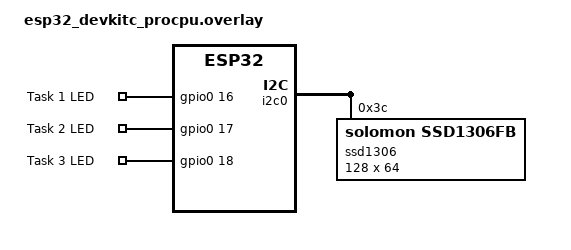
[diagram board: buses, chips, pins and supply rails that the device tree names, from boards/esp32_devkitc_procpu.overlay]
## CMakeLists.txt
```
cmake_minimum_required(VERSION 3.20.0)

find_package(Zephyr REQUIRED HINTS $ENV{ZEPHYR_BASE})
project(tda_app)

target_sources(app PRIVATE src/main.c src/tasks.c src/display.c src/acceptance_test.c)
```

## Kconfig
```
mainmenu "TDA App"

config NUM_TASKS
  int "Number of tasks"
  default 3

config TASK1_PRIORITY
  int "Priority of TASK1" 
  default 0

config TASK1_PERIOD_MS
  int "Period of TASK1" 
  default 10000

config TASK1_EXECUTION_TIME_MS
  int "Period of TASK1" 
  default 1000

config TASK1_RELEASE_MS
  int "Period of TASK1" 
  default 0

config TASK2_PRIORITY
  int "Priority of TASK2" 
  default 0

config TASK2_PERIOD_MS
  int "Period of TASK2" 
  default 10000

config TASK2_EXECUTION_TIME_MS
  int "Period of TASK2" 
  default 1000

config TASK2_RELEASE_MS
  int "Period of TASK2" 
  default 0

config TASK3_PRIORITY
  int "Priority of TASK3" 
  default 0

config TASK3_PERIOD_MS
  int "Period of TASK3" 
  default 10000

config TASK3_EXECUTION_TIME_MS
  int "Period of TASK3" 
  default 1000

config TASK3_RELEASE_MS
  int "Period of TASK3" 
  default 0

source "Kconfig.zephyr"
```

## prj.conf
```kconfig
CONFIG_GPIO=y
CONFIG_BOOTLOADER_MCUBOOT=y

CONFIG_DISPLAY=y
CONFIG_CHARACTER_FRAMEBUFFER=y
CONFIG_CBPRINTF_FP_SUPPORT=y

# Activate logging to get error/warnings for SSD1306 initialization
#CONFIG_LOG=y
#CONFIG_LOG_DEFAULT_LEVEL=3

# Task Configuration
CONFIG_NUM_TASKS=3

CONFIG_TASK1_PRIORITY=1
CONFIG_TASK1_PERIOD_MS=4000
CONFIG_TASK1_EXECUTION_TIME_MS=2000
CONFIG_TASK1_RELEASE_MS=0

CONFIG_TASK2_PRIORITY=2
CONFIG_TASK2_PERIOD_MS=7000
CONFIG_TASK2_EXECUTION_TIME_MS=2000
CONFIG_TASK2_RELEASE_MS=0

CONFIG_TASK3_PRIORITY=3
CONFIG_TASK3_PERIOD_MS=8000
CONFIG_TASK3_EXECUTION_TIME_MS=1000
CONFIG_TASK3_RELEASE_MS=0
```

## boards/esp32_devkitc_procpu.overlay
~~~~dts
/ {
    custom_gpio {
        compatible = "gpio-keys";

        task1_led: task1_led {
            gpios = <&gpio0 16 GPIO_ACTIVE_HIGH>;
            label = "Task 1 LED";
        };
        task2_led: task2_led {
            gpios = <&gpio0 17 GPIO_ACTIVE_HIGH>;
            label = "Task 2 LED";
        };
        task3_led: task3_led {
            gpios = <&gpio0 18 GPIO_ACTIVE_HIGH>;
            label = "Task 3 LED";
        };
    };

    chosen {
        task1_led = &task1_led;
        task2_led = &task2_led;
        task3_led = &task3_led;
        zephyr,display = &ssd1306;
    };
};


/* TODO: Configure I2C for the SSD1306 display. 
*  For reference, you may want to have a look at
*  (1) zephyr/boards/espressif/esp32_devkitc/esp32_devkitc_procpu.dts
*  (2) zephyr/boards/shields/ssd1306/ssd1306_128x64.overlay
*  Hint: The ESP32 device tree does not provide a arduino_i2c definition as 
*  assumed by (2), thus replace it with a suitable device tree entry from (1).
*
*  Afterwards, make sure that the reference in display.c is correctly resolved
*  ```
*  #define SSD1306 DT_CHOSEN(display)
*  static const struct device *dev = DEVICE_DT_GET(SSD1306);
*  ```
*/
&i2c0 {
	status = "okay";

	ssd1306: ssd1306@3c {
		compatible = "solomon,ssd1306fb";
		reg = <0x3c>;
		width = <128>;
		height = <64>;
		segment-offset = <2>;
		page-offset = <0>;
		display-offset = <0>;
		multiplex-ratio = <63>;
		segment-remap;
		com-invdir;
		prechargep = <0x22>;
	};
~~~~

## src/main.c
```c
#include <zephyr/kernel.h>

#include "acceptance_test.h"
#include "display.h"

K_THREAD_STACK_ARRAY_DEFINE(task_stacks, CONFIG_NUM_TASKS, STACKSIZE);

TASK_SETUP(1);
TASK_SETUP(2);
TASK_SETUP(3);

struct task_params *task_set[] = {
	&task1_params,
	&task2_params,
	&task3_params,
};

struct k_thread task_threads[CONFIG_NUM_TASKS];

int main()
{
	AcceptanceTestResult default_result = {false, {0, 0, 0}};
	AcceptanceTestResult results[] = {default_result, default_result, default_result};

	// check acceptance test and store decision in results array
	for (unsigned int i = 0; i < CONFIG_NUM_TASKS; i++) {
		acceptance_test(task_set, i, results);
		if (!results[i].accepted) {
			continue;
		}

		// if accepted, create the task
		k_thread_create(&task_threads[i], task_stacks[i], STACKSIZE, task_implementation,
				task_set[i], &results[i].info, NULL, task_set[i]->priority, 0,
				K_NO_WAIT);
	}

	start_time_keeper();

	while (1) {
		for (unsigned int i = 0; i < CONFIG_NUM_TASKS; i++) {
			ssd1306_print_task_info(task_set[i], &results[i].info);
			k_sleep(K_MSEC(1000));
		}
	}

	return 0;
}
```

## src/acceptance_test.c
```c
#include <math.h>
#include <stdio.h>

#include "acceptance_test.h"

void utilization_bound_test(struct task_params **params, unsigned int task_id,
			    AcceptanceTestResult results[])
{
	double utilization = 0;
	bool accepted = false;
	/*--------------------------------------------------------------------
	 * TODO 1: Implement the Utilization Bound Test from the lecture
	 ---------------------------------------------------------------------*/
	unsigned int num_tasks = 0;
	for (unsigned int i = 0; i <= task_id; i++) 
	{
		if (i == task_id || results[i].accepted) 
		{
			utilization +=(double)params[i]->execution_time_ms  / (double)params[i]->period_ms;
			num_tasks++;
		}
	}
	//	unsigned int num_tasks = task_id+1;
	double bound = num_tasks * (pow(2.0, 1.0 / num_tasks) - 1.0);

	if (utilization <= bound)
	accepted = true;
	results[task_id].accepted = accepted;
	results[task_id].info.util = utilization;

	printf("Utiliization Test (Task %d): %f (%s)\n", task_id + 1, utilization,
	       accepted ? "accepted" : "rejected");
}

void worst_case_simulation(struct task_params **params, unsigned int task_id,
			   AcceptanceTestResult results[])
{
	int32_t completion_time = 0;
	bool accepted = false;
	
	/*--------------------------------------------------------------------
	 * TODO 2: Implement the Worst Case Simulation from the lecture
	 ---------------------------------------------------------------------*/
	int32_t T_execution_time = params[task_id]->execution_time_ms;
	int32_t T_deadline = params[task_id]->period_ms;
	int32_t T_pre = T_execution_time;
	int32_t T_suc = 0;

	while (1) 
	{
		T_suc = T_execution_time;
		for (unsigned int i = 0; i < task_id; i++) 
		{
			if (results[i].accepted) 
			{
				T_suc += (int32_t)ceil((double)T_pre /params[i]->period_ms) * params[i]->execution_time_ms;
			}
		}
		if (T_suc == T_pre)
			break;
		if (T_suc > T_deadline)
			break;
		T_pre = T_suc;
	}
	completion_time = T_suc;
	accepted = (completion_time <= T_deadline);
	// ___________________________ END _____________________________________
	results[task_id].accepted = accepted;
	results[task_id].info.wcs_result = completion_time;

	printf("Worst Case Simulation (Task %d): %d ms (%s)\n", task_id + 1, completion_time,
	       accepted ? "accepted" : "rejected");
}

void time_demand_analysis(struct task_params **params, unsigned int task_id, AcceptanceTestResult results[])
{
	int32_t t_next = 0;
	bool accepted = false;

	/*--------------------------------------------------------------------
	 * TODO 3: Implement the Time Demand Analysis from the lecture
	 ---------------------------------------------------------------------*/
	int32_t execution_T1 = params[task_id]->execution_time_ms;
	int32_t Deadline_T1 = params[task_id]->period_ms;
	for (int32_t i = execution_T1; i <= Deadline_T1; i++) 
	{
		int32_t t1 = execution_T1;
		for (unsigned int j = 0; j < task_id; j++) {
			if (results[j].accepted) 
			{
				t1 += (int32_t)ceil((double)i /params[j]->period_ms) * params[j]->execution_time_ms;
			}
		}

		if (t1 <= i) 
		{
			accepted = true;
			t_next = i;
			break;
		}
	}
	if (!accepted)
		t_next = -1;

	results[task_id].accepted = accepted;
	results[task_id].info.tda_result = t_next;

	printf("Time Demand Analysis (Task %d): %d ms (%s)\n", task_id + 1, t_next,
	       accepted ? "accepted" : "rejected");
}

/* Determine if params[task_id] can be scheduled.
 * - params: array of all task parameters (e.g., needed to perform TDA)
 * - task_id: index such that params[task_id] is the task under consideration
 * - results: output parameter yielding the acceptance test result */
void acceptance_test(struct task_params **params, unsigned int task_id,
		     AcceptanceTestResult results[])
{
	/*--------------------------------------------------------------------
	 * TODO 4: Call the above acceptance tests in a suitable order.
	 *  In particular, recall which of these tests are necessary,
	 *  sufficient, or both.
	 *  Ensure that the final value of result->accepted is true if and
	 *  only if the task encoded by params[task_id] can be scheduled.
	 ---------------------------------------------------------------------*/
	utilization_bound_test(params, task_id, results);
	if (results[task_id].accepted)
		return;
	worst_case_simulation(params, task_id, results);
	if (results[task_id].accepted)
		return;
	time_demand_analysis(params, task_id, results);

}
```

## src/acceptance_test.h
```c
#pragma once

#include <zephyr/kernel.h>

#include "display.h"

typedef struct {
	bool accepted;
	struct task_info info;
} AcceptanceTestResult;

/* Determine if params[task_id] can be scheduled.
 * - params: array of all task parameters (e.g., needed to perform TDA)
 * - task_id: index such that params[task_id] is the task under consideration
 * - results: output parameter yielding the acceptance test result */
void acceptance_test(struct task_params **params, unsigned int task_id,
		     AcceptanceTestResult result[]);
```

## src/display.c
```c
#include "display.h"
#include <zephyr/device.h>
#include <zephyr/drivers/display.h>
#include <zephyr/kernel.h>

#include <zephyr/display/cfb.h>
#include <zephyr/drivers/display.h>

#define LOG_LEVEL CONFIG_LOG_DEFAULT_LEVEL
#include <zephyr/logging/log.h>
LOG_MODULE_REGISTER(display);

#define SSD1306 DT_CHOSEN(display)
static const struct device *dev = DEVICE_DT_GET(SSD1306);

#define BUFFER_SIZE 10
static char buf[BUFFER_SIZE];

int ssd1306_setup(void)
{
	if (!device_is_ready(dev)) {
		LOG_ERR("Display device not ready");
		return -EIO;
	}

	if (display_set_pixel_format(dev, PIXEL_FORMAT_MONO01)) {
		LOG_ERR("Failed to set required pixel format");
		return -EIO;
	}
	if (display_blanking_off(dev)) {
		LOG_ERR("Failed to turn off display blanking");
		return -EIO;
	}
	if (cfb_framebuffer_init(dev)) {
		LOG_ERR("Failed to initialize character framebuffer");
		return -EIO;
	}
	cfb_framebuffer_invert(dev);
	return 0;
}
SYS_INIT(ssd1306_setup, APPLICATION, CONFIG_KERNEL_INIT_PRIORITY_DEVICE);

void ssd1306_print_task_info(struct task_params *params, struct task_info *info)
{
	snprintf(buf, sizeof(buf), "Task %d", params->task_id);
	cfb_print(dev, buf, 0, 0);
	snprintf(buf, sizeof(buf), "Utl %.3f", info->util);
	cfb_print(dev, buf, 0, 16);
	snprintf(buf, sizeof(buf), "WCS %d", info->wcs_result);
	cfb_print(dev, buf, 0, 32);
	snprintf(buf, sizeof(buf), "TDA %d", info->tda_result);
	cfb_print(dev, buf, 0, 46);

	cfb_framebuffer_finalize(dev);
}
```

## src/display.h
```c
#pragma once

#include "tasks.h"
#include <zephyr/device.h>
#include <zephyr/drivers/display.h>
#include <zephyr/kernel.h>

struct task_info {
	double util;
	int32_t wcs_result;
	int32_t tda_result;
};

void ssd1306_print_task_info(struct task_params *params, struct task_info *info);
```

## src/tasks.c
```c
#include <assert.h>
#include <stdio.h>

#include "display.h"
#include "tasks.h"

/**
 * @brief Let LED blink for (roughly) delay_ms.
 *
 * @param params    Task parameters
 * @param info	    Task info of acceptance tests
 */
void useless_load(struct task_params *params, struct task_info *info)
{
	assert(params->execution_time_ms % BLINK_PERIOD_MS == 0 && BLINK_PERIOD_MS % 2 == 0);

	// Let LED blink for (roughly) delay_ms
	for (int32_t d = 0; d < params->execution_time_ms; d += BLINK_PERIOD_MS) {
		printf(" Task %d\n", params->task_id);
		gpio_pin_set_dt(params->led, 1);
		k_busy_wait(BLINK_PERIOD_MS * 1000 / 2);
		gpio_pin_set_dt(params->led, 0);
		k_busy_wait(BLINK_PERIOD_MS * 1000 / 2);
	}
}

/**
 * @brief Dummy task implementation that toggles LED
 */
void task_implementation(void *p0, void *p1, void *p2)
{
	struct task_params *params = (struct task_params *)p0;
	struct task_info *info = (struct task_info *)p1;

	if (!gpio_is_ready_dt(params->led)) {
		return;
	}
	int ret = gpio_pin_configure_dt(params->led, GPIO_OUTPUT_ACTIVE);
	if (ret < 0) {
		return;
	}

	k_timer_start(params->timer, K_NO_WAIT, K_MSEC(params->period_ms));
	while (true) {
		k_timer_status_sync(params->timer);
		useless_load(params, info);
	}
}

/**
 * @brief Prints current time in seconds
 */
void print_time()
{
	static int time_sec = 0;
	printf("T = %ds:\n", time_sec);
	time_sec++;
}
K_TIMER_DEFINE(time_keeper, print_time, NULL);

/**
 * @brief Initializes periodic timer interrupt to print time in seconds
 */
void start_time_keeper(void)
{
	k_timer_start(&time_keeper, K_NO_WAIT, K_MSEC(1000));
}
```

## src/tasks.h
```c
#pragma once

#include <zephyr/drivers/gpio.h>
#include <zephyr/kernel.h>

#define STACKSIZE       1024
#define BLINK_PERIOD_MS 250

struct task_params {
	int task_id;
	int priority;
	const struct gpio_dt_spec *led;
	int32_t execution_time_ms;
	int32_t period_ms;
	struct k_timer *timer;
};

/**
 * @brief Dummy task implementation that toggles LED
 */
void task_implementation(void *params, void *p1, void *p2);

/**
 * @brief Initializes periodic timer interrupt to print time in seconds
 */
void start_time_keeper(void);

/**
 * @brief Macro for initializing tasks.
 */
#define TASK_SETUP(n)                                                                              \
	static const struct gpio_dt_spec task##n##_led =                                           \
		GPIO_DT_SPEC_GET(DT_CHOSEN(task##n##_led), gpios);                                 \
	K_TIMER_DEFINE(task##n##_timer, NULL, NULL);                                               \
	static struct task_params task##n##_params = {                                             \
		.task_id = n,                                                                      \
		.priority = CONFIG_TASK##n##_PRIORITY,                                             \
		.led = &task##n##_led,                                                             \
		.period_ms = CONFIG_TASK##n##_PERIOD_MS,                                           \
		.execution_time_ms = CONFIG_TASK##n##_EXECUTION_TIME_MS,                           \
		.timer = &task##n##_timer,                                                         \
	};
```
